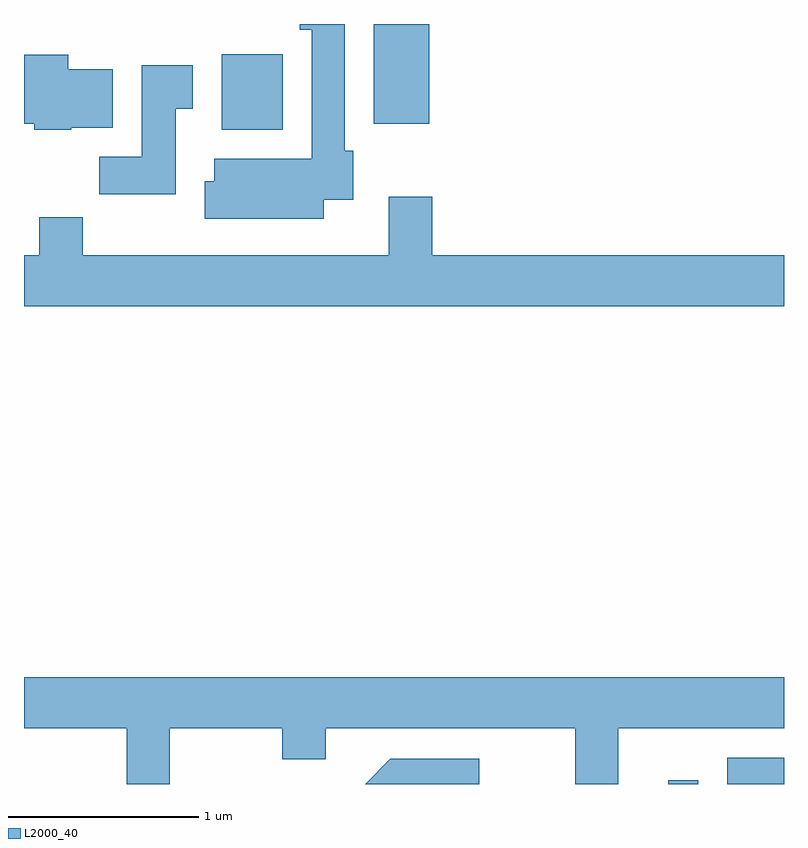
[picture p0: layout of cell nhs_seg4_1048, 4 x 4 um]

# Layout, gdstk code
import gdstk
lib = gdstk.Library(unit=1e-6, precision=1e-09)
def R(c, l, rs):  # rectangles x0, y0, x1, y1
    for r in rs: c.add(gdstk.rectangle(r[:2], r[2:], *l))
def P(c, l, *ps):  # polygons
    for p in ps: c.add(gdstk.Polygon(p, *l))
L2000_40 = (2000, 40)

nhs_seg4_1048 = lib.new_cell('nhs_seg4_1048')
R(nhs_seg4_1048, L2000_40, [(219.001,1309.982,219.159,1310.003), (219.311,1309.982,219.611,1310.119), (216.651,1313.426,216.974,1313.824), (217.451,1313.456,217.744,1313.982)])
P(nhs_seg4_1048, L2000_40, [(217.189,1313.056),(217.344,1313.056),(217.344,1313.314),(217.299,1313.314),(217.299,1313.982),(217.063,1313.982),(217.063,1313.951),(217.126,1313.951),(217.126,1313.274),(216.611,1313.274),(216.611,1313.154),(216.561,1313.154),(216.561,1312.956),(217.189,1312.956)],
  [(215.86,1313.436),(216.079,1313.436),(216.079,1313.744),(215.844,1313.744),(215.844,1313.819),(215.611,1313.819),(215.611,1313.456),(215.666,1313.456),(215.666,1313.426),(215.86,1313.426)],
  [(216.409,1313.536),(216.499,1313.536),(216.499,1313.764),(216.231,1313.764),(216.231,1313.284),(216.006,1313.284),(216.006,1313.086),(216.409,1313.086)],
  [(219.611,1312.764),(217.759,1312.764),(217.759,1313.074),(217.531,1313.074),(217.531,1312.764),(215.919,1312.764),(215.919,1312.964),(215.691,1312.964),(215.691,1312.764),(215.611,1312.764),(215.611,1312.496),(219.611,1312.496)],
  [(216.379,1310.276),(216.971,1310.276),(216.971,1310.111),(217.199,1310.111),(217.199,1310.276),(218.511,1310.276),(218.511,1309.982),(218.739,1309.982),(218.739,1310.276),(219.611,1310.276),(219.611,1310.544),(215.611,1310.544),(215.611,1310.276),(216.151,1310.276),(216.151,1309.982),(216.379,1309.982)],
  [(218.008,1310.114),(217.539,1310.114),(217.406,1309.982),(218.008,1309.982)])

lib.write_gds('nhs_seg4_1048.gds')
